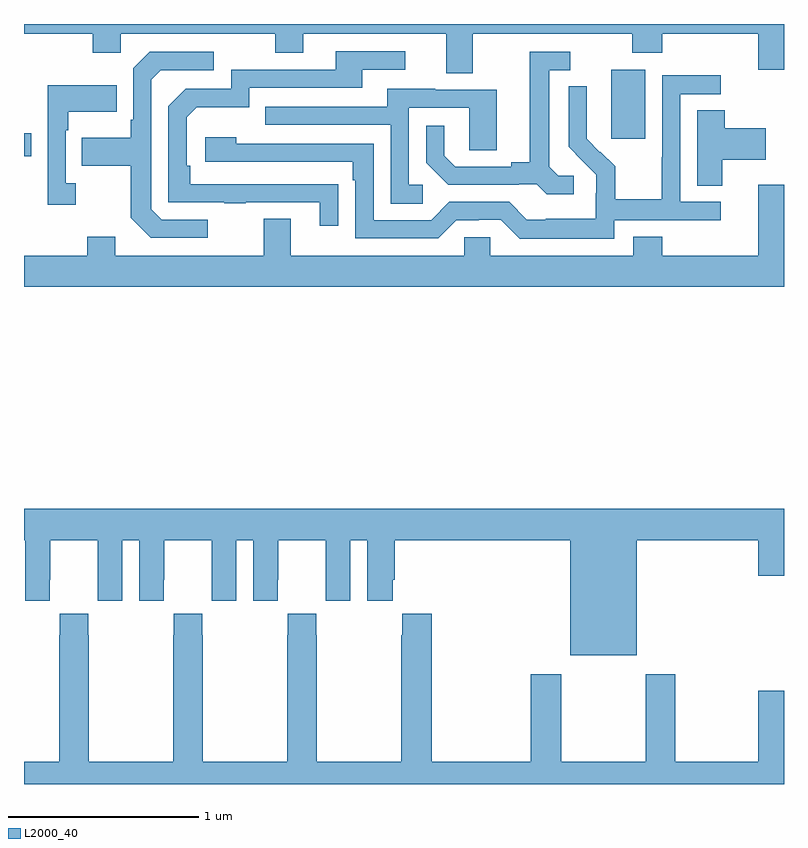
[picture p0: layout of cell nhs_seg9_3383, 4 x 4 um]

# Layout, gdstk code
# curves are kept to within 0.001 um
import gdstk
lib = gdstk.Library(unit=1e-6, precision=1e-09)
def R(c, l, rs):  # rectangles x0, y0, x1, y1
    for r in rs: c.add(gdstk.rectangle(r[:2], r[2:], *l))
def P(c, l, *ps):  # polygons
    for p in ps: c.add(gdstk.Polygon(p, *l))
L2000_40 = (2000, 40)

nhs_seg9_3383 = lib.new_cell('nhs_seg9_3383')
R(nhs_seg9_3383, L2000_40, [(305,1167.803,305.038,1167.925), (308.09,1167.897,308.269,1168.258)])
P(nhs_seg9_3383, L2000_40, [(307.363,1168.448),(308.2,1168.448),(308.2,1168.349),(308.36,1168.349),(308.36,1168.448),(308.864,1168.448),(308.864,1168.26),(309,1168.26),(309,1168.5),(305,1168.5),(305,1168.448),(305.362,1168.448),(305.362,1168.349),(305.508,1168.349),(305.508,1168.448),(306.322,1168.448),(306.322,1168.349),(306.469,1168.349),(306.469,1168.448),(307.223,1168.448),(307.223,1168.24),(307.363,1168.24)],
  [(306.653,1167.656),(305.876,1167.657),(305.876,1167.754),(305.856,1167.754),(305.856,1168.008),(305.909,1168.061),(306.186,1168.061),(306.186,1168.164),(306.781,1168.164),(306.781,1168.26),(307.006,1168.26),(307.006,1168.356),(306.641,1168.356),(306.641,1168.26),(306.09,1168.26),(306.09,1168.158),(305.85,1168.158),(305.76,1168.068),(305.76,1167.561),(306.055,1167.561),(306.055,1167.556),(306.167,1167.556),(306.167,1167.561),(306.557,1167.561),(306.557,1167.438),(306.653,1167.438)],
  [(305.968,1167.471),(305.724,1167.471),(305.67,1167.525),(305.67,1168.206),(305.721,1168.257),(305.998,1168.257),(305.998,1168.353),(305.661,1168.353),(305.574,1168.266),(305.574,1167.997),(305.562,1167.997),(305.562,1167.901),(305.305,1167.901),(305.305,1167.754),(305.562,1167.754),(305.562,1167.481),(305.667,1167.375),(305.968,1167.375)],
  [(307.894,1167.702),(307.812,1167.702),(307.765,1167.749),(307.765,1168.257),(307.876,1168.257),(307.876,1168.353),(307.661,1168.353),(307.661,1167.773),(307.565,1167.773),(307.565,1167.75),(307.27,1167.75),(307.213,1167.807),(307.213,1167.964),(307.116,1167.964),(307.116,1167.77),(307.232,1167.654),(307.604,1167.654),(307.604,1167.657),(307.698,1167.657),(307.75,1167.605),(307.894,1167.605)],
  [(308.106,1167.468),(308.668,1167.468),(308.668,1167.564),(308.454,1167.564),(308.454,1168.131),(308.668,1168.131),(308.668,1168.23),(308.358,1168.23),(308.358,1167.8),(308.356,1167.8),(308.356,1167.577),(308.111,1167.577),(308.111,1167.751),(308.034,1167.828),(308.031,1167.825),(307.961,1167.896),(307.962,1168.172),(307.866,1168.172),(307.866,1167.854),(308.012,1167.706),(308.012,1167.609),(308.01,1167.609),(308.01,1167.475),(307.747,1167.475),(307.747,1167.471),(307.647,1167.471),(307.554,1167.564),(307.239,1167.564),(307.143,1167.468),(306.84,1167.468),(306.84,1167.87),(306.116,1167.87),(306.116,1167.904),(305.955,1167.904),(305.955,1167.774),(306.731,1167.774),(306.731,1167.677),(306.744,1167.677),(306.744,1167.372),(307.179,1167.372),(307.275,1167.468),(307.394,1167.468),(307.394,1167.471),(307.509,1167.471),(307.609,1167.371),(308.106,1167.371)],
  [(305.272,1167.662),(305.22,1167.662),(305.22,1167.941),(305.233,1167.941),(305.233,1168.037),(305.489,1168.037),(305.489,1168.177),(305.124,1168.177),(305.124,1167.549),(305.272,1167.549)],
  [(307.099,1167.654),(307.026,1167.654),(307.026,1168.059),(307.344,1168.059),(307.344,1167.835),(307.489,1167.835),(307.489,1168.155),(307.165,1168.155),(307.165,1168.159),(306.911,1168.159),(306.911,1168.065),(306.271,1168.065),(306.271,1167.969),(306.93,1167.969),(306.93,1167.553),(307.099,1167.553)],
  [(308.674,1167.785),(308.905,1167.785),(308.905,1167.951),(308.687,1167.951),(308.687,1168.046),(308.543,1168.046),(308.543,1167.649),(308.674,1167.649)],
  [(309,1167.655),(308.864,1167.655),(308.864,1167.28),(308.36,1167.28),(308.36,1167.379),(308.207,1167.379),(308.207,1167.28),(307.455,1167.28),(307.455,1167.378),(307.317,1167.378),(307.317,1167.28),(306.403,1167.28),(306.403,1167.475),(306.263,1167.475),(306.263,1167.28),(305.479,1167.28),(305.479,1167.379),(305.332,1167.379),(305.332,1167.28),(305,1167.28),(305,1167.116),(309,1167.116)],
  [(308.224,1165.784),(308.864,1165.784),(308.864,1165.596),(309,1165.596),(309,1165.948),(305,1165.948),(305,1165.784),(305.006,1165.784),(305.006,1165.464),(305.136,1165.464),(305.136,1165.576),(305.137,1165.576),(305.137,1165.784),(305.387,1165.784),(305.387,1165.576),(305.388,1165.576),(305.388,1165.464),(305.518,1165.464),(305.518,1165.784),(305.606,1165.784),(305.606,1165.464),(305.736,1165.464),(305.736,1165.576),(305.737,1165.576),(305.737,1165.784),(305.987,1165.784),(305.987,1165.576),(305.988,1165.576),(305.988,1165.464),(306.118,1165.464),(306.118,1165.784),(306.206,1165.784),(306.206,1165.464),(306.336,1165.464),(306.336,1165.576),(306.337,1165.576),(306.337,1165.784),(306.587,1165.784),(306.587,1165.576),(306.588,1165.576),(306.588,1165.464),(306.718,1165.464),(306.718,1165.784),(306.806,1165.784),(306.806,1165.464),(306.94,1165.464),(306.94,1165.576),(306.95,1165.576),(306.95,1165.784),(307.874,1165.784),(307.874,1165.178),(308.224,1165.178)],
  [(307.827,1165.078),(307.667,1165.078),(307.667,1164.616),(307.145,1164.616),(307.145,1165.396),(306.991,1165.396),(306.991,1165.283),(306.985,1165.283),(306.985,1164.616),(306.54,1164.616),(306.54,1165.283),(306.537,1165.283),(306.537,1165.396),(306.387,1165.396),(306.387,1165.283),(306.385,1165.283),(306.385,1164.616),(305.94,1164.616),(305.94,1165.283),(305.937,1165.283),(305.937,1165.396),(305.787,1165.396),(305.787,1165.283),(305.785,1165.283),(305.785,1164.616),(305.34,1164.616),(305.34,1165.283),(305.337,1165.283),(305.337,1165.396),(305.187,1165.396),(305.187,1165.283),(305.185,1165.283),(305.185,1164.616),(305,1164.616),(305,1164.5),(309,1164.5),(309,1164.991),(308.864,1164.991),(308.864,1164.616),(308.427,1164.616),(308.427,1165.078),(308.272,1165.078),(308.272,1164.616),(307.827,1164.616)])

lib.write_gds('nhs_seg9_3383.gds')
